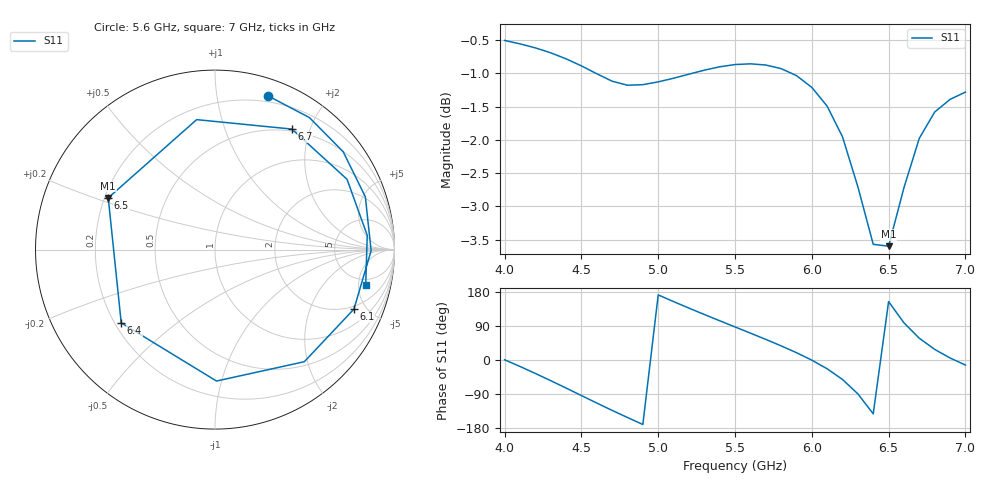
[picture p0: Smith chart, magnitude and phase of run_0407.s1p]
! Touchstone file exported from HFSS 2024.2.0
!  File:  C:/Users/wsak9/Desktop/Sim Fast/Widenad Patch/WP_AI_V1_sweep.aedt
!  Generated:  08:33:50 AM Oct 14, 2026
!  Design:  A1_model
!  Project:  WP_AI_V1_sweep
!  Setup:  Setup1
!  Solution:  Sweep
! Variables:
!  Air_gap = 4.86mm
!  Curve_Amp1 = 1.11
!  Curve_len1 = 1
!  Curve_pos = 9.72mm
!  Extra = 1.89mm
!  H_sub = 0.79mm
!  L_Patch = 15.44mm
!  L_Patch1 = 17.39mm
!  Sx = 0.54mm
!  Sy = 3.41mm
!  WS = 0.91mm
!  W_Patch = 12.23mm
!  W_Patch1 = 15.5mm
!Data is not renormalized
# GHz S MA
! Terminal data exported
! Port[1] = 1
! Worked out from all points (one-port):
!   31 points, 4 GHz to 7 GHz, reference per port
!   lowest |S11| = -3.6 dB at 6.5 GHz (marker M1), VSWR 4.90
!   |S11| at or under -10 dB: nowhere
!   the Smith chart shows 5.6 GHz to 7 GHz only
!   S11 on the Smith chart (normalised r, x): 5.6 GHz: 0.15, +1.39; 6.1 GHz: 1.81, -4.12; 6.4 GHz: 0.23, -0.33; 6.5 GHz: 0.21, +0.22; 6.7 GHz: 0.47, +1.73; 7 GHz: 3.92, -6.09
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4  0.9434 0.6
4.1  0.9379 -17.0
4.2  0.9314 -35.4
4.3  0.9235 -54.5
4.4  0.9139 -74.0
4.5  0.9028 -93.8
4.6  0.8906 -113.6
4.7  0.8792 -133.0
4.8  0.8731 -151.8
4.9  0.874 -170.2
5  0.8782 171.8
5.2  0.89 136.9
5.4  0.9014 103.6
5.5  0.9049 87.3
5.6  0.906 70.9
5.7  0.9042 54.4
5.9  0.8878 19.4
6  0.8699 -0.4
6.1  0.8421 -23.2
6.2  0.7985 -51.5
6.3  0.7324 -89.4
6.4  0.663 -142.0
6.5  0.6609 154.1
6.6  0.7313 98.0
6.7  0.7966 57.4
6.8  0.8335 28.0
6.9  0.852 5.3
7  0.8628 -13.3
